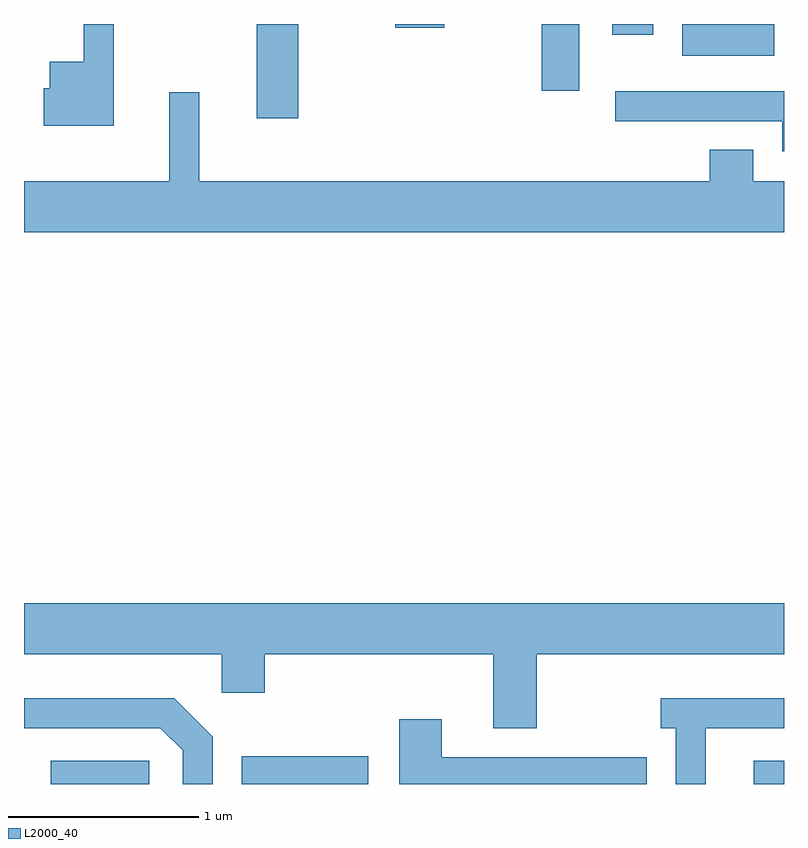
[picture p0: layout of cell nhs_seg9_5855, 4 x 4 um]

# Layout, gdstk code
import gdstk
lib = gdstk.Library(unit=1e-6, precision=1e-09)
def R(c, l, rs):  # rectangles x0, y0, x1, y1
    for r in rs: c.add(gdstk.rectangle(r[:2], r[2:], *l))
def P(c, l, *ps):  # polygons
    for p in ps: c.add(gdstk.Polygon(p, *l))
L2000_40 = (2000, 40)

nhs_seg9_5855 = lib.new_cell('nhs_seg9_5855')
R(nhs_seg9_5855, L2000_40, [(357.753,2024.432,358.269,2024.554), (358.756,2024.432,359.424,2024.579), (361.453,2024.432,361.611,2024.554), (358.836,2027.936,359.054,2028.432), (360.336,2028.081,360.534,2028.432), (361.076,2028.266,361.559,2028.432), (360.706,2028.376,360.924,2028.432), (359.566,2028.411,359.824,2028.432)])
P(nhs_seg9_5855, L2000_40, [(358.084,2028.432),(357.926,2028.432),(357.926,2028.234),(357.746,2028.234),(357.746,2028.094),(357.716,2028.094),(357.716,2027.896),(358.084,2027.896)],
  [(361.611,2028.079),(360.723,2028.079),(360.723,2027.921),(361.601,2027.921),(361.601,2027.761),(361.611,2027.761)],
  [(361.611,2027.604),(361.449,2027.604),(361.449,2027.769),(361.221,2027.769),(361.221,2027.604),(358.534,2027.604),(358.534,2028.073),(358.376,2028.073),(358.376,2027.604),(357.611,2027.604),(357.611,2027.336),(361.611,2027.336)],
  [(360.309,2025.116),(361.611,2025.116),(361.611,2025.384),(357.611,2025.384),(357.611,2025.116),(358.651,2025.116),(358.651,2024.911),(358.879,2024.911),(358.879,2025.116),(360.081,2025.116),(360.081,2024.726),(360.309,2024.726)],
  [(361.199,2024.726),(361.611,2024.726),(361.611,2024.884),(360.963,2024.884),(360.963,2024.726),(361.041,2024.726),(361.041,2024.432),(361.199,2024.432)],
  [(358.604,2024.682),(358.402,2024.884),(357.611,2024.884),(357.611,2024.726),(358.329,2024.726),(358.446,2024.609),(358.446,2024.432),(358.604,2024.432)],
  [(360.889,2024.574),(359.809,2024.574),(359.809,2024.774),(359.586,2024.774),(359.586,2024.432),(360.889,2024.432)])

lib.write_gds('nhs_seg9_5855.gds')
